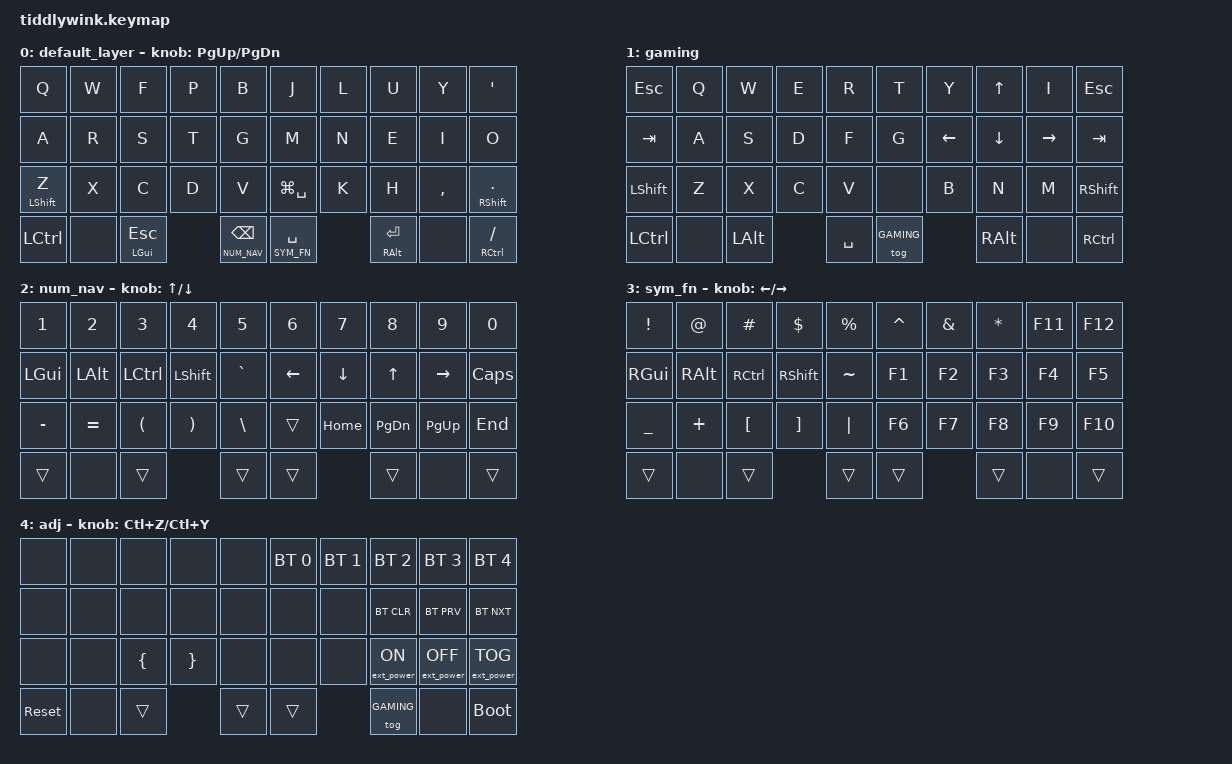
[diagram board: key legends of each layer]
#include <behaviors.dtsi>
#include <dt-bindings/zmk/keys.h>
#include <dt-bindings/zmk/bt.h>
#include <dt-bindings/zmk/ext_power.h>

#define DEFAULT 0
#define GAMING  1
#define NUM_NAV 2
#define SYM_FN  3
#define ADJ     4

/ {
    combos {
        /* Key positions
             0   1   2   3   4     5   6   7   8   9
            10  11  12  13  14    15  16  17  18  19
            20  21  22  23  24    25  26  27  28  29
            30  31  32  33            34  35  36  37
        */
        
        compatible = "zmk,combos";
        
        #define COMBO(NAME, BINDINGS, KEYPOS) \
          combo_##NAME { \
            bindings = <BINDINGS>; \
            key-positions = <KEYPOS>; \
            layers = <0 2 3 4>; \
          };
        
        COMBO(clkCaps,   &kp CAPS,     7  21  26)
        COMBO(wfEsc,     &kp ESC,      1   2)
        COMBO(fpTab,     &kp TAB,      2   3)
        COMBO(luDel,     &kp DEL,      6   7)
        COMBO(uyBspc,    &kp BSPC,     7   8)
        COMBO(yQuotScln, &kp SEMI,     8   9)
        COMBO(khCol,     &kp COLON,   26  27)
        COMBO(hCommEnt,  &kp RET,     27  28)
    };

    conditional_layers {
        compatible = "zmk,conditional-layers";
        tri_layer {
            if-layers = <2 3>;
            then-layer = <4>;
        };
    };

    behaviors {
        mtp: mod_tap_preferred {
            compatible = "zmk,behavior-hold-tap";
            label = "MOD_TAP_PREFERRED";
            #binding-cells = <2>;
            tapping-term-ms = <200>;
            flavor = "tap-preferred";
            bindings = <&kp>, <&kp>;
        };
    };

    keymap {
        compatible = "zmk,keymap";

        default_layer {
            bindings = <
    &kp Q          &kp W      &kp F       &kp P        &kp B             &kp J          &kp L    &kp U         &kp Y      &kp SQT
    &kp A          &kp R      &kp S       &kp T        &kp G             &kp M          &kp N    &kp E         &kp I      &kp O
    &mtp LSHFT Z   &kp X      &kp C       &kp D        &kp V             &kp LG(SPACE)  &kp K    &kp H         &kp COMMA  &mtp RSHFT DOT
    &kp LCTRL      &none      &mtp LGUI ESC            &lt NUM_NAV BSPC  &lt SYM_FN SPACE        &mtp RALT RET &none      &mtp RCTRL FSLH
            >;
            sensor-bindings = <&inc_dec_kp PG_UP PG_DN>;
        };

        gaming {
            bindings = <
    &kp ESC    &kp Q   &kp W      &kp E   &kp R                     &kp T         &kp Y      &kp UP     &kp I       &kp ESC    
    &kp TAB    &kp A   &kp S      &kp D   &kp F                     &kp G         &kp LEFT   &kp DOWN   &kp RIGHT   &kp TAB    
    &kp LSHFT  &kp Z   &kp X      &kp C   &kp V                     &none         &kp B      &kp N      &kp M       &kp RSHFT
    &kp LCTRL  &none   &kp LALT           &kp SPACE                 &tog GAMING              &kp RALT   &none       &kp RCTRL
            >;
        };


        num_nav {
            bindings = <
    &kp N1     &kp N2     &kp N3     &kp N4     &kp N5              &kp N6     &kp N7       &kp N8      &kp N9       &kp N0
    &kp LGUI   &kp LALT   &kp LCTRL  &kp LSHFT  &kp GRAVE           &kp LEFT   &kp DOWN     &kp UP      &kp RIGHT    &kp CAPS
    &kp MINUS  &kp EQUAL  &kp LPAR   &kp RPAR   &kp BSLH            &trans     &kp HOME     &kp PG_DN   &kp PG_UP    &kp END
    &trans     &none      &trans                &trans              &trans                  &trans      &none        &trans
            >;
            sensor-bindings = <&inc_dec_kp UP DOWN>;
        };

        sym_fn {
            bindings = <
    &kp EXCL    &kp AT     &kp HASH   &kp DLLR    &kp PRCNT          &kp CARET   &kp AMPS    &kp ASTRK   &kp F11    &kp F12
    &kp RGUI    &kp RALT   &kp RCTRL  &kp RSHFT   &kp TILDE          &kp F1      &kp F2      &kp F3      &kp F4     &kp F5
    &kp UNDER   &kp PLUS   &kp LBKT   &kp RBKT    &kp PIPE           &kp F6      &kp F7      &kp F8      &kp F9     &kp F10
    &trans      &none      &trans                 &trans             &trans                  &trans      &none      &trans
            >;
            sensor-bindings = <&inc_dec_kp LEFT RIGHT>;
        };

        adj {
            bindings = <
    &none      &none   &none      &none      &none      &bt BT_SEL 0 &bt BT_SEL 1 &bt BT_SEL 2     &bt BT_SEL 3      &bt BT_SEL 4
    &none      &none   &none      &none      &none      &none        &none        &bt BT_CLR       &bt BT_PRV        &bt BT_NXT    
    &none      &none   &kp LBRC   &kp RBRC   &none      &none        &none        &ext_power EP_ON &ext_power EP_OFF &ext_power EP_TOG
    &sys_reset &none   &trans                &trans     &trans                    &tog GAMING      &none             &bootloader
            >;
            sensor-bindings = <&inc_dec_kp LC(Z) LC(Y)>;
        };
    };
};
